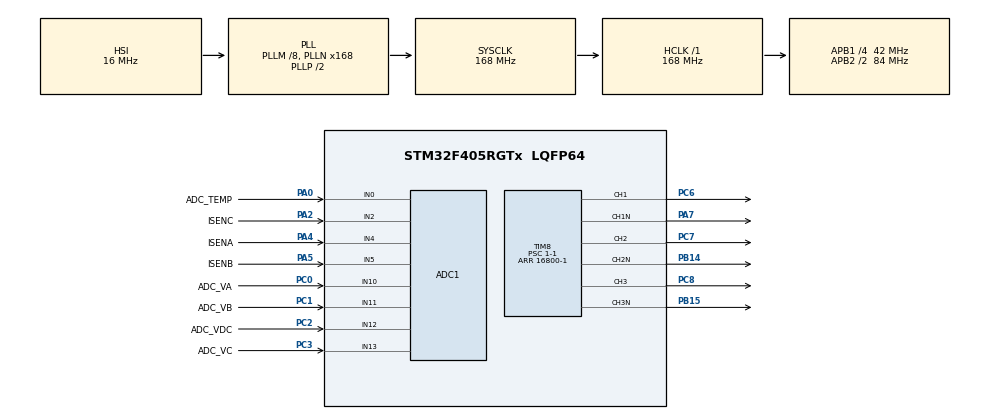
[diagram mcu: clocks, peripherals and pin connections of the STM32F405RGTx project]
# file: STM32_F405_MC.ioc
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Mcu.Family=STM32F4
RCC.CortexFreq_Value=168000000
SH.ADCx_IN2.0=ADC1_IN2,IN2
PC0.GPIO_Label=ADC_VA
PB15.Signal=TIM8_CH3N
RCC.SYSCLKSource=RCC_SYSCLKSOURCE_PLLCLK
ProjectManager.StackSize=0x400
TIM8.Channel-PWM\ Generation2\ CH2\ CH2N=TIM_CHANNEL_2
RCC.HCLKFreq_Value=168000000
RCC.APB2TimFreq_Value=168000000
PC7.Signal=S_TIM8_CH2
PC3.Signal=ADCx_IN13
VP_TIM12_VS_ClockSourceITR.Mode=TriggerSource_ITR0
RCC.AHBFreq_Value=168000000
TIM8.Channel-PWM\ Generation1\ CH1\ CH1N=TIM_CHANNEL_1
ADC1.Channel-0\#ChannelRegularConversion=ADC_CHANNEL_0
RCC.HSE_VALUE=25000000
TIM12.Period=16800-1
PB14.Mode=PWM Generation2 CH2 CH2N
SH.ADCx_IN0.0=ADC1_IN0,IN0
ADC1.SamplingTime-0\#ChannelRegularConversion=ADC_SAMPLETIME_3CYCLES
Mcu.Package=LQFP64
TIM8.Channel-PWM\ Generation3\ CH3\ CH3N=TIM_CHANNEL_3
PA2.GPIO_Label=ISENC
TIM8.Prescaler=1-1
RCC.APB2CLKDivider=RCC_HCLK_DIV2
RCC.APB1TimFreq_Value=84000000
PA4.GPIO_Label=ISENA
PC2.GPIO_Label=ADC_VDC
SH.S_TIM8_CH3.0=TIM8_CH3,PWM Generation3 CH3 CH3N
SH.ADCx_IN13.0=ADC1_IN13,IN13
ADC1.Rank-0\#ChannelRegularConversion=1
PA7.Mode=PWM Generation1 CH1 CH1N
PC8.Signal=S_TIM8_CH3
PC2.Signal=ADCx_IN12
PC6.Signal=S_TIM8_CH1
VP_TIM8_VS_ClockSourceITR.Mode=TriggerSource_ITR0
PC0.Signal=ADCx_IN10
RCC.APB1CLKDivider=RCC_HCLK_DIV4
SH.S_TIM8_CH2.0=TIM8_CH2,PWM Generation2 CH2 CH2N
PA0-WKUP.GPIO_Label=ADC_TEMP
PA0-WKUP.Signal=ADCx_IN0
SH.ADCx_IN12.0=ADC1_IN12,IN12
ProjectManager.TargetToolchain=STM32CubeIDE
NVIC.TIM8_BRK_TIM12_IRQn=true\:0\:0\:false\:false\:true\:true\:true
RCC.LSE_VALUE=32768
TIM12.Prescaler=1-1
PB14.Signal=TIM8_CH2N
PA5.Signal=ADCx_IN5
SH.S_TIM8_CH1.0=TIM8_CH1,PWM Generation1 CH1 CH1N
TIM8.DeadTime=100
board=custom
RCC.VCOOutputFreq_Value=336000000
PB15.Mode=PWM Generation3 CH3 CH3N
RCC.APB2Freq_Value=84000000
SH.ADCx_IN11.0=ADC1_IN11,IN11
PC1.GPIO_Label=ADC_VB
SH.ADCx_IN4.0=ADC1_IN4,IN4
Mcu.Name=STM32F405RGTx
PA2.Signal=ADCx_IN2
TIM8.Period=16800-1
RCC.48MHZClocksFreq_Value=84000000
PA4.Signal=ADCx_IN4
RCC.SYSCLKFreq_VALUE=168000000
ADC1.master=1
PA5.GPIO_Label=ISENB
SH.ADCx_IN10.0=ADC1_IN10,IN10
ProjectManager.HeapSize=0x200
RCC.HSI_VALUE=16000000
SH.ADCx_IN5.0=ADC1_IN5,IN5
NVIC.PriorityGroup=NVIC_PRIORITYGROUP_4
ADC1.NbrOfConversionFlag=1
RCC.PLLM=8
RCC.PLLN=168
PC3.GPIO_Label=ADC_VC
RCC.APB1Freq_Value=42000000
PC1.Signal=ADCx_IN11
TIM8.CounterMode=TIM_COUNTERMODE_CENTERALIGNED3
PA7.Signal=TIM8_CH1N

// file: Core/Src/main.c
/* USER CODE BEGIN Header */
/**
  ******************************************************************************
  * @file           : main.c
  * @brief          : Main program body
  ******************************************************************************
  * @attention
  *
  * <h2><center>&copy; Copyright (c) 2021 STMicroelectronics.
  * All rights reserved.</center></h2>
  *
  * This software component is licensed by ST under BSD 3-Clause license,
  * the "License"; You may not use this file except in compliance with the
  * License. You may obtain a copy of the License at:
  *                        opensource.org/licenses/BSD-3-Clause
  *
  ******************************************************************************
  */
/* USER CODE END Header */
#include "main.h"

ADC_HandleTypeDef hadc1;

TIM_HandleTypeDef htim8;
TIM_HandleTypeDef htim12;

void SystemClock_Config(void);
static void MX_GPIO_Init(void);
static void MX_TIM8_Init(void);
static void MX_TIM12_Init(void);
static void MX_ADC1_Init(void);

/* USER CODE BEGIN 0 */

// initialize the VHZ profile
VHZPROFILE vhz1;

// initialize the SVPWM
SVPWM svpwm1;

uint8_t oldsector = 0;

/* USER CODE END 0 */

int main(void)
{

  /* MCU Configuration--------------------------------------------------------*/

  /* Reset of all peripherals, Initializes the Flash interface and the Systick. */
  HAL_Init();

  /* Configure the system clock */
  SystemClock_Config();

  /* Initialize all configured peripherals */
  MX_GPIO_Init();
  MX_TIM8_Init();
  MX_TIM12_Init();
  MX_ADC1_Init();
  /* USER CODE BEGIN 2 */
  // intitialize the pwm timers
  HAL_TIM_PWM_Start(&htim8, TIM_CHANNEL_1);
  HAL_TIM_PWM_Start(&htim8, TIM_CHANNEL_2);
  HAL_TIM_PWM_Start(&htim8, TIM_CHANNEL_3);
  HAL_TIMEx_PWMN_Start(&htim8, TIM_CHANNEL_1);
  HAL_TIMEx_PWMN_Start(&htim8, TIM_CHANNEL_2);
  HAL_TIMEx_PWMN_Start(&htim8, TIM_CHANNEL_3);

  // intitialize the SVPWM
  SVPWM_Init(&svpwm1, 10000);
  // initialize the VHz
  // VHZ_Init(vhz1, float FreqMin, float FreqRated, float VoltMin, float VoltRated);
  VHZ_Init(&vhz1, 10, 60, 10, 60);

  // initialize the interrupt
  HAL_TIM_Base_Start_IT(&htim12);
  /* USER CODE END 2 */

  /* Infinite loop */
  while (1)
  {

  }
}

void SystemClock_Config(void)
{
  RCC_OscInitTypeDef RCC_OscInitStruct = {0};
  RCC_ClkInitTypeDef RCC_ClkInitStruct = {0};

  /** Configure the main internal regulator output voltage
  */
  __HAL_RCC_PWR_CLK_ENABLE();
  __HAL_PWR_VOLTAGESCALING_CONFIG(PWR_REGULATOR_VOLTAGE_SCALE1);
  /** Initializes the RCC Oscillators according to the specified parameters
  * in the RCC_OscInitTypeDef structure.
  */
  RCC_OscInitStruct.OscillatorType = RCC_OSCILLATORTYPE_HSI;
  RCC_OscInitStruct.HSIState = RCC_HSI_ON;
  RCC_OscInitStruct.HSICalibrationValue = RCC_HSICALIBRATION_DEFAULT;
  RCC_OscInitStruct.PLL.PLLState = RCC_PLL_ON;
  RCC_OscInitStruct.PLL.PLLSource = RCC_PLLSOURCE_HSI;
  RCC_OscInitStruct.PLL.PLLM = 8;
  RCC_OscInitStruct.PLL.PLLN = 168;
  RCC_OscInitStruct.PLL.PLLP = RCC_PLLP_DIV2;
  RCC_OscInitStruct.PLL.PLLQ = 4;
  if (HAL_RCC_OscConfig(&RCC_OscInitStruct) != HAL_OK)
  {
    Error_Handler();
  }
  /** Initializes the CPU, AHB and APB buses clocks
  */
  RCC_ClkInitStruct.ClockType = RCC_CLOCKTYPE_HCLK|RCC_CLOCKTYPE_SYSCLK
                              |RCC_CLOCKTYPE_PCLK1|RCC_CLOCKTYPE_PCLK2;
  RCC_ClkInitStruct.SYSCLKSource = RCC_SYSCLKSOURCE_PLLCLK;
  RCC_ClkInitStruct.AHBCLKDivider = RCC_SYSCLK_DIV1;
  RCC_ClkInitStruct.APB1CLKDivider = RCC_HCLK_DIV4;
  RCC_ClkInitStruct.APB2CLKDivider = RCC_HCLK_DIV2;

  if (HAL_RCC_ClockConfig(&RCC_ClkInitStruct, FLASH_LATENCY_5) != HAL_OK)
  {
    Error_Handler();
  }
}

static void MX_ADC1_Init(void)
{

  ADC_ChannelConfTypeDef sConfig = {0};

  /** Configure the global features of the ADC (Clock, Resolution, Data Alignment and number of conversion)
  */
  hadc1.Instance = ADC1;
  hadc1.Init.ClockPrescaler = ADC_CLOCK_SYNC_PCLK_DIV4;
  hadc1.Init.Resolution = ADC_RESOLUTION_12B;
  hadc1.Init.ScanConvMode = DISABLE;
  hadc1.Init.ContinuousConvMode = DISABLE;
  hadc1.Init.DiscontinuousConvMode = DISABLE;
  hadc1.Init.ExternalTrigConvEdge = ADC_EXTERNALTRIGCONVEDGE_NONE;
  hadc1.Init.ExternalTrigConv = ADC_SOFTWARE_START;
  hadc1.Init.DataAlign = ADC_DATAALIGN_RIGHT;
  hadc1.Init.NbrOfConversion = 1;
  hadc1.Init.DMAContinuousRequests = DISABLE;
  hadc1.Init.EOCSelection = ADC_EOC_SINGLE_CONV;
  if (HAL_ADC_Init(&hadc1) != HAL_OK)
  {
    Error_Handler();
  }
  /** Configure for the selected ADC regular channel its corresponding rank in the sequencer and its sample time.
  */
  sConfig.Channel = ADC_CHANNEL_0;
  sConfig.Rank = 1;
  sConfig.SamplingTime = ADC_SAMPLETIME_3CYCLES;
  if (HAL_ADC_ConfigChannel(&hadc1, &sConfig) != HAL_OK)
  {
    Error_Handler();
  }

}

static void MX_TIM8_Init(void)
{

  TIM_SlaveConfigTypeDef sSlaveConfig = {0};
  TIM_MasterConfigTypeDef sMasterConfig = {0};
  TIM_OC_InitTypeDef sConfigOC = {0};
  TIM_BreakDeadTimeConfigTypeDef sBreakDeadTimeConfig = {0};

  htim8.Instance = TIM8;
  htim8.Init.Prescaler = 1-1;
  htim8.Init.CounterMode = TIM_COUNTERMODE_CENTERALIGNED3;
  htim8.Init.Period = 16800-1;
  htim8.Init.ClockDivision = TIM_CLOCKDIVISION_DIV1;
  htim8.Init.RepetitionCounter = 0;
  htim8.Init.AutoReloadPreload = TIM_AUTORELOAD_PRELOAD_DISABLE;
  if (HAL_TIM_Base_Init(&htim8) != HAL_OK)
  {
    Error_Handler();
  }
  if (HAL_TIM_PWM_Init(&htim8) != HAL_OK)
  {
    Error_Handler();
  }
  sSlaveConfig.SlaveMode = TIM_SLAVEMODE_DISABLE;
  sSlaveConfig.InputTrigger = TIM_TS_ITR0;
  if (HAL_TIM_SlaveConfigSynchro(&htim8, &sSlaveConfig) != HAL_OK)
  {
    Error_Handler();
  }
  sMasterConfig.MasterOutputTrigger = TIM_TRGO_RESET;
  sMasterConfig.MasterSlaveMode = TIM_MASTERSLAVEMODE_DISABLE;
  if (HAL_TIMEx_MasterConfigSynchronization(&htim8, &sMasterConfig) != HAL_OK)
  {
    Error_Handler();
  }
  sConfigOC.OCMode = TIM_OCMODE_PWM1;
  sConfigOC.Pulse = 0;
  sConfigOC.OCPolarity = TIM_OCPOLARITY_HIGH;
  sConfigOC.OCNPolarity = TIM_OCNPOLARITY_HIGH;
  sConfigOC.OCFastMode = TIM_OCFAST_DISABLE;
  sConfigOC.OCIdleState = TIM_OCIDLESTATE_RESET;
  sConfigOC.OCNIdleState = TIM_OCNIDLESTATE_RESET;
  if (HAL_TIM_PWM_ConfigChannel(&htim8, &sConfigOC, TIM_CHANNEL_1) != HAL_OK)
  {
    Error_Handler();
  }
  if (HAL_TIM_PWM_ConfigChannel(&htim8, &sConfigOC, TIM_CHANNEL_2) != HAL_OK)
  {
    Error_Handler();
  }
  if (HAL_TIM_PWM_ConfigChannel(&htim8, &sConfigOC, TIM_CHANNEL_3) != HAL_OK)
  {
    Error_Handler();
  }
  sBreakDeadTimeConfig.OffStateRunMode = TIM_OSSR_DISABLE;
  sBreakDeadTimeConfig.OffStateIDLEMode = TIM_OSSI_DISABLE;
  sBreakDeadTimeConfig.LockLevel = TIM_LOCKLEVEL_OFF;
  sBreakDeadTimeConfig.DeadTime = 100;
  sBreakDeadTimeConfig.BreakState = TIM_BREAK_DISABLE;
  sBreakDeadTimeConfig.BreakPolarity = TIM_BREAKPOLARITY_HIGH;
  sBreakDeadTimeConfig.AutomaticOutput = TIM_AUTOMATICOUTPUT_DISABLE;
  if (HAL_TIMEx_ConfigBreakDeadTime(&htim8, &sBreakDeadTimeConfig) != HAL_OK)
  {
    Error_Handler();
  }
  HAL_TIM_MspPostInit(&htim8);

}

static void MX_TIM12_Init(void)
{

  TIM_SlaveConfigTypeDef sSlaveConfig = {0};

  htim12.Instance = TIM12;
  htim12.Init.Prescaler = 1-1;
  htim12.Init.CounterMode = TIM_COUNTERMODE_UP;
  htim12.Init.Period = 16800-1;
  htim12.Init.ClockDivision = TIM_CLOCKDIVISION_DIV1;
  htim12.Init.AutoReloadPreload = TIM_AUTORELOAD_PRELOAD_DISABLE;
  if (HAL_TIM_Base_Init(&htim12) != HAL_OK)
  {
    Error_Handler();
  }
  sSlaveConfig.SlaveMode = TIM_SLAVEMODE_DISABLE;
  sSlaveConfig.InputTrigger = TIM_TS_ITR0;
  if (HAL_TIM_SlaveConfigSynchro(&htim12, &sSlaveConfig) != HAL_OK)
  {
    Error_Handler();
  }

}

static void MX_GPIO_Init(void)
{

  /* GPIO Ports Clock Enable */
  __HAL_RCC_GPIOC_CLK_ENABLE();
  __HAL_RCC_GPIOA_CLK_ENABLE();
  __HAL_RCC_GPIOB_CLK_ENABLE();

}

/* USER CODE BEGIN 4 */
void HAL_TIM_PeriodElapsedCallback(TIM_HandleTypeDef *htim8) {

	oldsector = svpwm1.SectorPointer;
	SVPWM_Update(&svpwm1, &vhz1, &htim8);

}
// SVPWM_Update(svpwm1, vhz1, TIM_HandleTypeDef *htim);

/* USER CODE END 4 */

void Error_Handler(void)
{
  __disable_irq();
  while (1)
  {
  }
}

/************************ (C) COPYRIGHT STMicroelectronics *****END OF FILE****/
